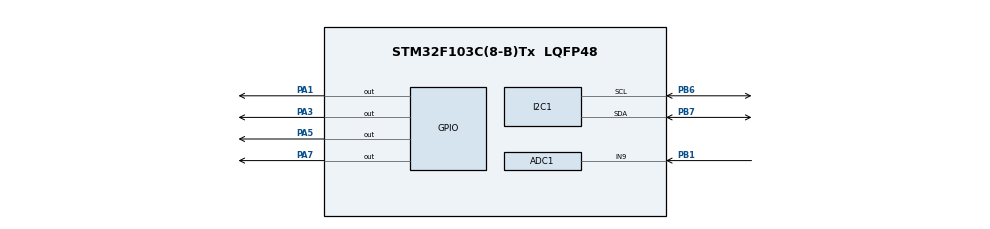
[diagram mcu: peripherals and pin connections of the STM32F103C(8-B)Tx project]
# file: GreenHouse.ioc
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ADC1.Channel-0\#ChannelRegularConversion=ADC_CHANNEL_9
ADC1.ContinuousConvMode=ENABLE
ADC1.NbrOfConversionFlag=1
ADC1.Rank-0\#ChannelRegularConversion=1
ADC1.SamplingTime-0\#ChannelRegularConversion=ADC_SAMPLETIME_1CYCLE_5
ADC1.master=1
Mcu.Family=STM32F1
Mcu.Name=STM32F103C(8-B)Tx
Mcu.Package=LQFP48
NVIC.PriorityGroup=NVIC_PRIORITYGROUP_4
PA1.Signal=GPIO_Output
PA13.Mode=Serial_Wire
PA13.Signal=SYS_JTMS-SWDIO
PA14.Mode=Serial_Wire
PA14.Signal=SYS_JTCK-SWCLK
PA3.Signal=GPIO_Output
PA5.Signal=GPIO_Output
PA7.Signal=GPIO_Output
PB1.Signal=ADCx_IN9
PB6.Mode=I2C
PB6.Signal=I2C1_SCL
PB7.Mode=I2C
PB7.Signal=I2C1_SDA
ProjectManager.HeapSize=0x200
ProjectManager.StackSize=0x400
ProjectManager.TargetToolchain=MDK-ARM V5.32
RCC.APB1Freq_Value=8000000
RCC.APB2Freq_Value=8000000
SH.ADCx_IN9.0=ADC1_IN9,IN9
board=custom

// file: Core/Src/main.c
/* USER CODE BEGIN Header */
/**
  ******************************************************************************
  * @file           : main.c
  * @brief          : Main program body
  ******************************************************************************
  * @attention
  * Copyright (c) 2025 STMicroelectronics.
  * All rights reserved.
  * This software is licensed under terms that can be found in the LICENSE file
  * in the root directory of this software component.
  * If no LICENSE file comes with this software, it is provided AS-IS.
  ******************************************************************************
  */
/* USER CODE END Header */
#include "main.h"

/* USER CODE BEGIN Includes */
#include "liquidcrystal_i2c.h"  // HD44780 over PCF8574 (uses hi2c1)
#include <stdio.h>
/* USER CODE END Includes */

/* USER CODE BEGIN PD */
#define LCD_ROWS     2
#define LCD_COLS     16

// LED pins (active HIGH)
#define LED_RED_PORT     GPIOA
#define LED_RED_PIN      GPIO_PIN_5     // Dry
#define LED_GREEN_PORT   GPIOA
#define LED_GREEN_PIN    GPIO_PIN_3     // Normal
#define LED_BLUE_PORT    GPIOA
#define LED_BLUE_PIN     GPIO_PIN_1     // Wet

// Sensor power pin
#define SOIL_PWR_PORT    GPIOA
#define SOIL_PWR_PIN     GPIO_PIN_7
/* USER CODE END PD */

ADC_HandleTypeDef hadc1;
I2C_HandleTypeDef hi2c1;

/* USER CODE BEGIN PV */
uint16_t readValue;
/* USER CODE END PV */

void SystemClock_Config(void);
static void MX_GPIO_Init(void);
static void MX_ADC1_Init(void);
static void MX_I2C1_Init(void);

int main(void)
{

  /* MCU Configuration--------------------------------------------------------*/
  HAL_Init();
  SystemClock_Config();

  /* Initialize all configured peripherals */
  MX_GPIO_Init();    // PA1/PA3/PA5 LEDs, PA7 sensor power
  MX_ADC1_Init();    // PB1 -> ADC1_IN9
  MX_I2C1_Init();    // PB6=SCL, PB7=SDA

  /* USER CODE BEGIN 2 */
  // LCD splash
  HD44780_Init(LCD_ROWS);
  HD44780_Backlight();
  HD44780_Clear();
  HD44780_SetCursor(0,0); HD44780_PrintStr("Soil Monitor");
  HD44780_SetCursor(0,1); HD44780_PrintStr("Starting...");
  HAL_Delay(800);

  // Start ADC
  HAL_ADC_Start(&hadc1);
  /* USER CODE END 2 */

  /* Infinite loop */
  /* USER CODE BEGIN WHILE */
  char line1[17];
  char line2[17];

  while (1)
  {
    // Power sensor ON, settle, sample
    HAL_GPIO_WritePin(SOIL_PWR_PORT, SOIL_PWR_PIN, GPIO_PIN_SET);
    HAL_Delay(20);
    HAL_ADC_PollForConversion(&hadc1, 1000);
    readValue = HAL_ADC_GetValue(&hadc1);
    HAL_GPIO_WritePin(SOIL_PWR_PORT, SOIL_PWR_PIN, GPIO_PIN_RESET);

    // Decide status
    const char* status;
    if (readValue > 3200) {
      status = "Dry";
      HAL_GPIO_WritePin(LED_RED_PORT,   LED_RED_PIN,   GPIO_PIN_SET);
      HAL_GPIO_WritePin(LED_GREEN_PORT, LED_GREEN_PIN, GPIO_PIN_RESET);
      HAL_GPIO_WritePin(LED_BLUE_PORT,  LED_BLUE_PIN,  GPIO_PIN_RESET);
    } else if (readValue > 2700) {
      status = "Normal";
      HAL_GPIO_WritePin(LED_RED_PORT,   LED_RED_PIN,   GPIO_PIN_RESET);
      HAL_GPIO_WritePin(LED_GREEN_PORT, LED_GREEN_PIN, GPIO_PIN_SET);
      HAL_GPIO_WritePin(LED_BLUE_PORT,  LED_BLUE_PIN,  GPIO_PIN_RESET);
    } else {
      status = "Wet";
      HAL_GPIO_WritePin(LED_RED_PORT,   LED_RED_PIN,   GPIO_PIN_RESET);
      HAL_GPIO_WritePin(LED_GREEN_PORT, LED_GREEN_PIN, GPIO_PIN_RESET);
      HAL_GPIO_WritePin(LED_BLUE_PORT,  LED_BLUE_PIN,  GPIO_PIN_SET);
    }

    // Update LCD (16 chars/line)
    snprintf(line1, sizeof(line1), "ADC:%4u", (unsigned)readValue);
    snprintf(line2, sizeof(line2), "Status:%-8s", status);
    HD44780_Clear();
    HD44780_SetCursor(0,0); HD44780_PrintStr(line1);
    HD44780_SetCursor(0,1); HD44780_PrintStr(line2);

    HAL_Delay(500);
  }
  /* USER CODE END WHILE */

}

/* System Clock Configuration */
void SystemClock_Config(void)
{
  RCC_OscInitTypeDef RCC_OscInitStruct = {0};
  RCC_ClkInitTypeDef RCC_ClkInitStruct = {0};
  RCC_PeriphCLKInitTypeDef PeriphClkInit = {0};

  RCC_OscInitStruct.OscillatorType = RCC_OSCILLATORTYPE_HSI;
  RCC_OscInitStruct.HSIState = RCC_HSI_ON;
  RCC_OscInitStruct.HSICalibrationValue = RCC_HSICALIBRATION_DEFAULT;
  RCC_OscInitStruct.PLL.PLLState = RCC_PLL_NONE;
  if (HAL_RCC_OscConfig(&RCC_OscInitStruct) != HAL_OK) { Error_Handler(); }

  RCC_ClkInitStruct.ClockType = RCC_CLOCKTYPE_HCLK|RCC_CLOCKTYPE_SYSCLK
                              |RCC_CLOCKTYPE_PCLK1|RCC_CLOCKTYPE_PCLK2;
  RCC_ClkInitStruct.SYSCLKSource = RCC_SYSCLKSOURCE_HSI;
  RCC_ClkInitStruct.AHBCLKDivider = RCC_SYSCLK_DIV1;
  RCC_ClkInitStruct.APB1CLKDivider = RCC_HCLK_DIV1;
  RCC_ClkInitStruct.APB2CLKDivider = RCC_HCLK_DIV1;
  if (HAL_RCC_ClockConfig(&RCC_ClkInitStruct, FLASH_LATENCY_0) != HAL_OK) { Error_Handler(); }

  PeriphClkInit.PeriphClockSelection = RCC_PERIPHCLK_ADC;
  PeriphClkInit.AdcClockSelection = RCC_ADCPCLK2_DIV2;
  if (HAL_RCCEx_PeriphCLKConfig(&PeriphClkInit) != HAL_OK) { Error_Handler(); }
}

/* ADC1 Initialization (PB1 -> ADC1_IN9) */
static void MX_ADC1_Init(void)
{
  ADC_ChannelConfTypeDef sConfig = {0};

  hadc1.Instance = ADC1;
  hadc1.Init.ScanConvMode = ADC_SCAN_DISABLE;
  hadc1.Init.ContinuousConvMode = ENABLE;
  hadc1.Init.DiscontinuousConvMode = DISABLE;
  hadc1.Init.ExternalTrigConv = ADC_SOFTWARE_START;
  hadc1.Init.DataAlign = ADC_DATAALIGN_RIGHT;
  hadc1.Init.NbrOfConversion = 1;
  if (HAL_ADC_Init(&hadc1) != HAL_OK) { Error_Handler(); }

  sConfig.Channel = ADC_CHANNEL_9;                 // PB1
  sConfig.Rank = ADC_REGULAR_RANK_1;
  sConfig.SamplingTime = ADC_SAMPLETIME_1CYCLE_5;
  if (HAL_ADC_ConfigChannel(&hadc1, &sConfig) != HAL_OK) { Error_Handler(); }
}

/* I2C1 Initialization (PB6=SCL, PB7=SDA) */
static void MX_I2C1_Init(void)
{
  hi2c1.Instance = I2C1;
  hi2c1.Init.ClockSpeed = 100000;
  hi2c1.Init.DutyCycle = I2C_DUTYCYCLE_2;
  hi2c1.Init.OwnAddress1 = 0;
  hi2c1.Init.AddressingMode = I2C_ADDRESSINGMODE_7BIT;
  hi2c1.Init.DualAddressMode = I2C_DUALADDRESS_DISABLE;
  hi2c1.Init.OwnAddress2 = 0;
  hi2c1.Init.GeneralCallMode = I2C_GENERALCALL_DISABLE;
  hi2c1.Init.NoStretchMode = I2C_NOSTRETCH_DISABLE;
  if (HAL_I2C_Init(&hi2c1) != HAL_OK) { Error_Handler(); }
}

/* GPIO Initialization */
static void MX_GPIO_Init(void)
{
  GPIO_InitTypeDef GPIO_InitStruct = {0};

  __HAL_RCC_GPIOA_CLK_ENABLE();
  __HAL_RCC_GPIOB_CLK_ENABLE();

  // Default low
  HAL_GPIO_WritePin(GPIOA, LED_RED_PIN|LED_GREEN_PIN|LED_BLUE_PIN|SOIL_PWR_PIN, GPIO_PIN_RESET);

  // LEDs (PA1/PA3/PA5)
  GPIO_InitStruct.Pin = LED_RED_PIN | LED_GREEN_PIN | LED_BLUE_PIN;
  GPIO_InitStruct.Mode = GPIO_MODE_OUTPUT_PP;
  GPIO_InitStruct.Pull = GPIO_NOPULL;
  GPIO_InitStruct.Speed = GPIO_SPEED_FREQ_LOW;
  HAL_GPIO_Init(GPIOA, &GPIO_InitStruct);

  // Soil sensor power (PA7)
  GPIO_InitStruct.Pin = SOIL_PWR_PIN;
  GPIO_InitStruct.Mode = GPIO_MODE_OUTPUT_PP;
  GPIO_InitStruct.Pull = GPIO_NOPULL;
  GPIO_InitStruct.Speed = GPIO_SPEED_FREQ_LOW;
  HAL_GPIO_Init(GPIOA, &GPIO_InitStruct);
}

/* Error Handler */
void Error_Handler(void)
{
  __disable_irq();
  while (1) { }
}
